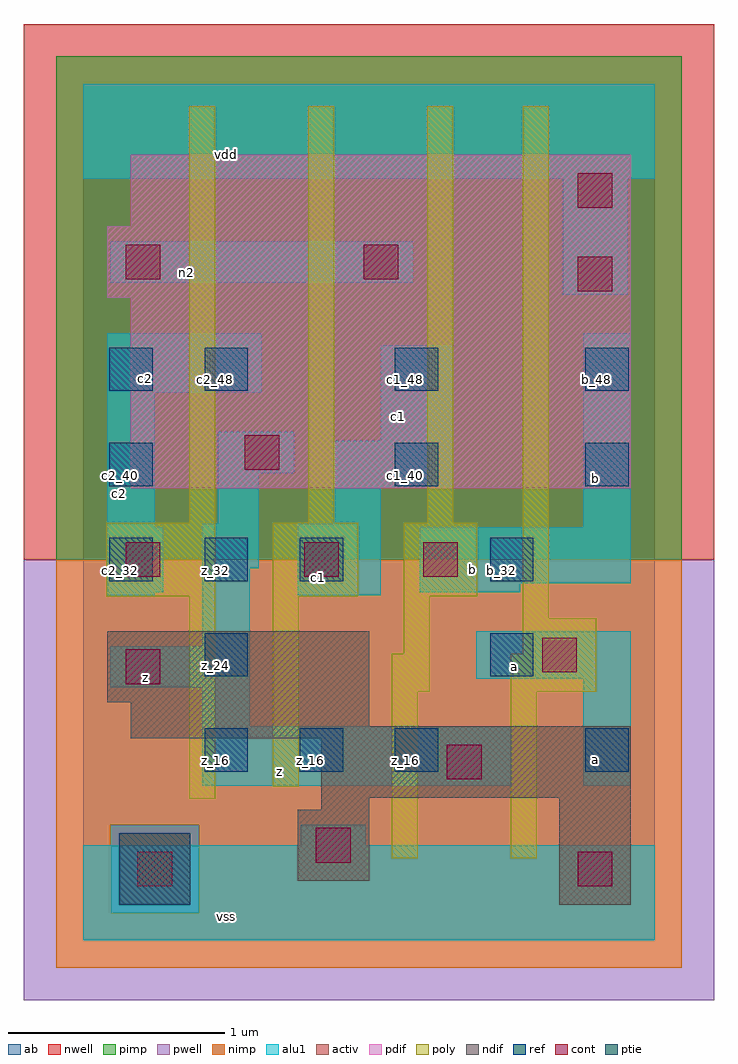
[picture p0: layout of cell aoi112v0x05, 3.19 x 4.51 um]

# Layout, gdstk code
import gdstk
lib = gdstk.Library(unit=1e-6, precision=2.5e-09)
def R(c, l, rs):  # rectangles x0, y0, x1, y1
    for r in rs: c.add(gdstk.rectangle(r[:2], r[2:], *l))
def A(c, l, x, y, w, h, nx, ny, dx, dy):  # array of equal rectangles
    R(c, l, [(x+i*dx, y+j*dy, x+i*dx+w, y+j*dy+h) for i in range(nx) for j in range(ny)])
ndif = (3, 0)
pdif = (4, 0)
ptie = (6, 0)
ref = (24, 0)
cont = (25, 0)
pwell = (41, 0)
nwell = (42, 0)
activ = (43, 0)
pimp = (44, 0)
nimp = (45, 0)
poly = (46, 0)
alu1 = (49, 0)
ab = (63, 0)

aoi112v0x05 = lib.new_cell('aoi112v0x05')
R(aoi112v0x05, ndif, [(2.2,0.165,2.53,0.66), (0.99,0.275,1.32,0.605), (1.1,0.605,1.32,0.66), (1.1,0.66,2.53,0.935), (0.22,0.935,2.53,0.99), (0.22,0.99,1.32,1.1), (0.11,1.1,1.32,1.43)])
R(aoi112v0x05, pdif, [(0.22,2.09,2.53,2.97), (0.11,2.97,2.53,3.3), (0.22,3.3,2.53,3.63)])
R(aoi112v0x05, ptie, [(0.165,0.165,0.495,0.495)])
A(aoi112v0x05, ref, 0.56, 0.78, 0.2, 0.2, 3, 1, 0.44, 0)
A(aoi112v0x05, ref, 0.12, 1.66, 0.2, 0.2, 3, 1, 0.44, 0)
A(aoi112v0x05, ref, 0.56, 2.54, 0.2, 0.2, 3, 1, 0.88, 0)
R(aoi112v0x05, ref, [(2.32,0.78,2.52,0.98), (0.56,1.22,0.76,1.42), (1.88,1.22,2.08,1.42), (1.88,1.66,2.08,1.86), (0.12,2.1,0.32,2.3), (1.44,2.1,1.64,2.3), (2.32,2.1,2.52,2.3), (0.12,2.54,0.32,2.74)])
R(aoi112v0x05, cont, [(0.25,0.25,0.41,0.41), (2.285,0.25,2.445,0.41), (1.075,0.36,1.235,0.52), (1.68,0.745,1.84,0.905), (0.195,1.185,0.355,1.345), (2.12,1.24,2.28,1.4), (0.195,1.68,0.355,1.84), (1.02,1.68,1.18,1.84), (1.57,1.68,1.73,1.84), (0.745,2.175,0.905,2.335), (2.285,3,2.445,3.16), (0.195,3.055,0.355,3.215), (1.295,3.055,1.455,3.215), (2.285,3.385,2.445,3.545)])
R(aoi112v0x05, pwell, [(-0.275,-0.275,2.915,1.76)])
R(aoi112v0x05, nwell, [(-0.275,1.76,2.915,4.235)])
R(aoi112v0x05, activ, [(0.165,0.165,0.495,0.495), (2.2,0.165,2.53,0.66), (0.99,0.275,1.32,0.605), (1.1,0.605,1.32,0.66), (1.1,0.66,2.53,0.935), (0.22,0.935,2.53,0.99), (0.22,0.99,1.32,1.1), (0.11,1.1,1.32,1.43), (0.22,2.09,2.53,2.97), (0.11,2.97,2.53,3.3), (0.22,3.3,2.53,3.63)])
R(aoi112v0x05, pimp, [(0.125,0.125,0.535,0.535), (-0.125,1.76,2.765,4.085)])
R(aoi112v0x05, nimp, [(-0.125,-0.125,2.765,0.125), (-0.125,0.125,0.125,0.535), (0.535,0.125,2.765,0.535), (-0.125,0.535,2.765,1.76)])
A(aoi112v0x05, poly, 0.49, 1.93, 0.12, 1.925, 3, 1, 0.55, 0)
R(aoi112v0x05, poly, [(1.425,0.38,1.545,1.15), (1.975,0.38,2.095,1.15), (0.49,0.655,0.61,1.59), (0.875,0.71,0.995,1.59), (1.425,1.15,1.6,1.325), (1.975,1.15,2.37,1.325), (1.48,1.325,1.6,1.59), (2.03,1.325,2.37,1.49), (2.03,1.49,2.15,3.855), (0.105,1.59,0.61,1.93), (0.875,1.59,1.27,1.93), (1.48,1.59,1.82,1.93)])
R(aoi112v0x05, alu1, [(0,0,2.64,0.44), (1.005,0.44,1.305,0.535), (0.55,0.715,1.98,0.99), (2.31,0.715,2.53,1.21), (0.55,0.99,0.77,1.17), (0.125,1.17,0.77,1.36), (1.815,1.21,2.53,1.43), (0.55,1.36,0.77,1.72), (0.11,1.595,0.33,1.61), (0.99,1.595,1.375,1.925), (0.11,1.61,0.37,1.91), (1.555,1.61,2.02,1.65), (1.555,1.65,2.53,1.91), (0.55,1.72,0.81,1.925), (0.11,1.91,0.33,2.53), (2.31,1.91,2.53,2.805), (0.62,1.925,0.81,2.16), (1.155,1.925,1.375,2.09), (1.155,2.09,1.705,2.31), (0.62,2.16,0.975,2.35), (1.375,2.31,1.705,2.75), (0.11,2.53,0.825,2.805), (2.215,2.985,2.515,3.52), (0.125,3.04,1.525,3.23), (0,3.52,2.64,3.96)])
R(aoi112v0x05, ab, [(0,0,2.64,3.96)])
aoi112v0x05.add(gdstk.Label('vss', (0.66,0.11), layer=49, texttype=0))
aoi112v0x05.add(gdstk.Label('a', (2.365,0.8375), layer=49, texttype=0))
aoi112v0x05.add(gdstk.Label('z', (0.9075,0.7825), layer=49, texttype=0))
aoi112v0x05.add(gdstk.Label('a', (1.9925,1.265), layer=49, texttype=0))
aoi112v0x05.add(gdstk.Label('z', (0.285,1.2175), layer=49, texttype=0))
aoi112v0x05.add(gdstk.Label('b', (1.7975,1.715), layer=49, texttype=0))
aoi112v0x05.add(gdstk.Label('b', (2.365,2.1325), layer=49, texttype=0))
aoi112v0x05.add(gdstk.Label('c1', (1.085,1.6775), layer=49, texttype=0))
aoi112v0x05.add(gdstk.Label('c1', (1.4575,2.42), layer=49, texttype=0))
aoi112v0x05.add(gdstk.Label('c2', (0.165,2.065), layer=49, texttype=0))
aoi112v0x05.add(gdstk.Label('c2', (0.2875,2.5975), layer=49, texttype=0))
aoi112v0x05.add(gdstk.Label('n2', (0.475,3.0875), layer=49, texttype=0))
aoi112v0x05.add(gdstk.Label('vdd', (0.66,3.63), layer=49, texttype=0))
aoi112v0x05.add(gdstk.Label('b_48', (2.37,2.59), layer=24, texttype=0))
aoi112v0x05.add(gdstk.Label('z_16', (1.49,0.83), layer=24, texttype=0))
aoi112v0x05.add(gdstk.Label('c2_48', (0.17,2.59), layer=24, texttype=0))
aoi112v0x05.add(gdstk.Label('c1_40', (1.49,2.15), layer=24, texttype=0))
aoi112v0x05.add(gdstk.Label('b_40', (2.37,2.15), layer=24, texttype=0))
aoi112v0x05.add(gdstk.Label('b_32', (1.93,1.71), layer=24, texttype=0))
aoi112v0x05.add(gdstk.Label('c1_48', (1.49,2.59), layer=24, texttype=0))
aoi112v0x05.add(gdstk.Label('c1_32', (1.05,1.71), layer=24, texttype=0))
aoi112v0x05.add(gdstk.Label('a_16', (2.37,0.83), layer=24, texttype=0))
aoi112v0x05.add(gdstk.Label('a_24', (1.93,1.27), layer=24, texttype=0))
aoi112v0x05.add(gdstk.Label('c2_48', (0.61,2.59), layer=24, texttype=0))
aoi112v0x05.add(gdstk.Label('c2_40', (0.17,2.15), layer=24, texttype=0))
aoi112v0x05.add(gdstk.Label('c2_32', (0.17,1.71), layer=24, texttype=0))
aoi112v0x05.add(gdstk.Label('z_32', (0.61,1.71), layer=24, texttype=0))
aoi112v0x05.add(gdstk.Label('z_24', (0.61,1.27), layer=24, texttype=0))
aoi112v0x05.add(gdstk.Label('z_16', (1.05,0.83), layer=24, texttype=0))
aoi112v0x05.add(gdstk.Label('z_16', (0.61,0.83), layer=24, texttype=0))

lib.write_gds('aoi112v0x05.gds')
